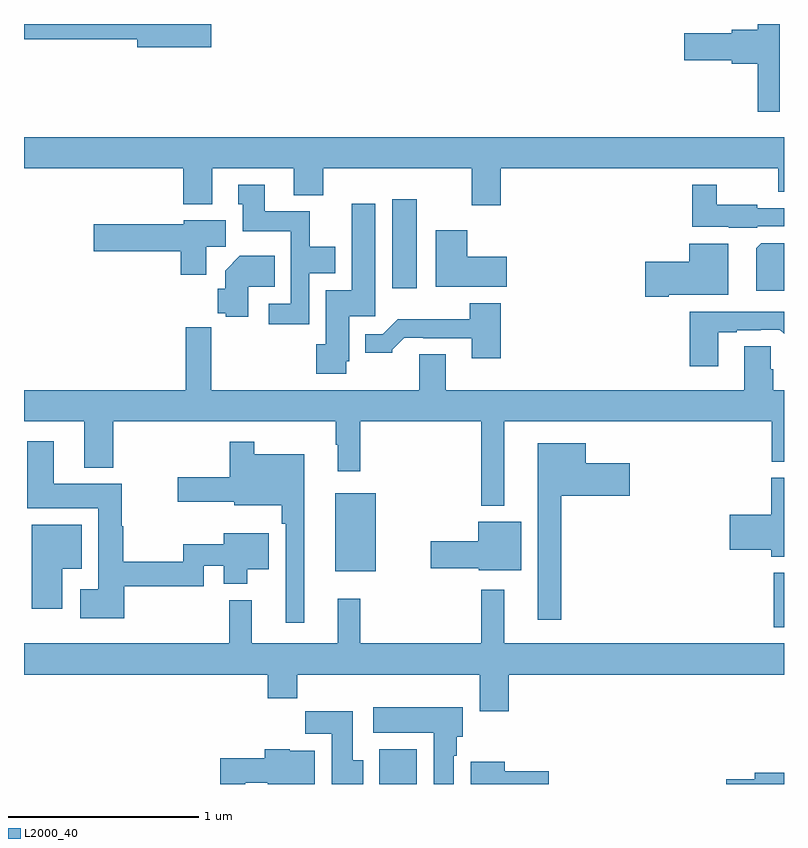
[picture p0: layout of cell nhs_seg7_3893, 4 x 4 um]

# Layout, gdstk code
import gdstk
lib = gdstk.Library(unit=1e-6, precision=1e-09)
def R(c, l, rs):  # rectangles x0, y0, x1, y1
    for r in rs: c.add(gdstk.rectangle(r[:2], r[2:], *l))
def P(c, l, *ps):  # polygons
    for p in ps: c.add(gdstk.Polygon(p, *l))
L2000_40 = (2000, 40)

nhs_seg7_3893 = lib.new_cell('nhs_seg7_3893')
R(nhs_seg7_3893, L2000_40, [(358.871,1040,359.068,1040.182), (360.947,1040.826,361,1041.111), (358.637,1041.119,358.852,1041.529), (358.937,1042.608,359.068,1043.077)])
P(nhs_seg7_3893, L2000_40, [(357.985,1044),(357,1044),(357,1043.92),(357.596,1043.92),(357.596,1043.878),(357.985,1043.878)],
  [(360.978,1044),(360.862,1044),(360.862,1043.969),(360.726,1043.969),(360.726,1043.951),(360.474,1043.951),(360.474,1043.809),(360.726,1043.809),(360.726,1043.791),(360.862,1043.791),(360.862,1043.538),(360.978,1043.538)],
  [(359.51,1043.24),(360.97,1043.24),(360.97,1043.116),(361,1043.116),(361,1043.404),(357,1043.404),(357,1043.24),(357.839,1043.24),(357.839,1043.051),(357.991,1043.051),(357.991,1043.24),(358.421,1043.24),(358.421,1043.099),(358.574,1043.099),(358.574,1043.24),(359.357,1043.24),(359.357,1043.046),(359.51,1043.046)],
  [(358.5,1042.688),(358.639,1042.688),(358.639,1042.828),(358.503,1042.828),(358.503,1043.014),(358.267,1043.014),(358.267,1043.155),(358.127,1043.155),(358.127,1043.052),(358.151,1043.052),(358.151,1042.91),(358.404,1042.91),(358.404,1042.527),(358.287,1042.527),(358.287,1042.419),(358.5,1042.419)],
  [(360.858,1042.935),(361,1042.935),(361,1043.031),(360.858,1043.031),(360.858,1043.05),(360.646,1043.05),(360.646,1043.155),(360.517,1043.155),(360.517,1042.934),(360.708,1042.934),(360.708,1042.928),(360.858,1042.928)],
  [(358.695,1042.224),(358.711,1042.224),(358.711,1042.461),(358.849,1042.461),(358.849,1043.053),(358.724,1043.053),(358.724,1042.6),(358.589,1042.6),(358.589,1042.314),(358.538,1042.314),(358.538,1042.158),(358.695,1042.158)],
  [(357.958,1042.828),(358.063,1042.828),(358.063,1042.966),(357.84,1042.966),(357.84,1042.947),(357.366,1042.947),(357.366,1042.805),(357.824,1042.805),(357.824,1042.68),(357.958,1042.68)],
  [(359.542,1042.774),(359.332,1042.774),(359.332,1042.915),(359.168,1042.915),(359.168,1042.616),(359.542,1042.616)],
  [(361,1042.846),(360.88,1042.846),(360.854,1042.82),(360.854,1042.595),(361,1042.595)],
  [(360.393,1042.574),(360.706,1042.574),(360.706,1042.844),(360.5,1042.844),(360.5,1042.748),(360.27,1042.748),(360.27,1042.565),(360.393,1042.565)],
  [(358.18,1042.616),(358.319,1042.616),(358.319,1042.78),(358.136,1042.78),(358.058,1042.702),(358.058,1042.606),(358.02,1042.606),(358.02,1042.478),(358.062,1042.478),(358.062,1042.459),(358.18,1042.459)],
  [(359.51,1042.531),(359.345,1042.531),(359.345,1042.447),(358.966,1042.447),(358.887,1042.368),(358.796,1042.368),(358.796,1042.271),(358.938,1042.271),(358.938,1042.286),(359.002,1042.35),(359.101,1042.35),(359.101,1042.347),(359.357,1042.347),(359.357,1042.242),(359.51,1042.242)],
  [(360.655,1042.377),(360.751,1042.377),(360.751,1042.389),(360.878,1042.389),(360.878,1042.392),(360.978,1042.392),(361,1042.37),(361,1042.486),(360.503,1042.486),(360.503,1042.2),(360.655,1042.2)],
  [(359.527,1041.908),(360.935,1041.908),(360.935,1041.697),(361,1041.697),(361,1042.072),(360.944,1042.072),(360.944,1042.182),(360.93,1042.182),(360.93,1042.304),(360.791,1042.304),(360.791,1042.072),(359.221,1042.072),(359.221,1042.262),(359.081,1042.262),(359.081,1042.072),(357.986,1042.072),(357.986,1042.292),(357.985,1042.292),(357.985,1042.405),(357.85,1042.405),(357.85,1042.072),(357,1042.072),(357,1041.908),(357.317,1041.908),(357.317,1041.665),(357.47,1041.665),(357.47,1041.908),(358.641,1041.908),(358.641,1041.785),(358.652,1041.785),(358.652,1041.645),(358.769,1041.645),(358.769,1041.908),(359.406,1041.908),(359.406,1041.464),(359.527,1041.464)],
  [(357.527,1041.042),(357.945,1041.042),(357.945,1041.15),(358.052,1041.15),(358.052,1041.053),(358.174,1041.053),(358.174,1041.131),(358.288,1041.131),(358.288,1041.319),(358.052,1041.319),(358.052,1041.261),(357.837,1041.261),(357.837,1041.17),(357.522,1041.17),(357.522,1041.356),(357.514,1041.356),(357.514,1041.58),(357.157,1041.58),(357.157,1041.805),(357.017,1041.805),(357.017,1041.452),(357.392,1041.452),(357.392,1041.025),(357.297,1041.025),(357.297,1040.873),(357.527,1040.873)],
  [(358.474,1041.736),(358.213,1041.736),(358.213,1041.802),(358.084,1041.802),(358.084,1041.615),(357.81,1041.615),(357.81,1041.485),(358.107,1041.485),(358.107,1041.467),(358.357,1041.467),(358.357,1041.371),(358.377,1041.371),(358.377,1040.85),(358.474,1040.85)],
  [(359.827,1041.518),(360.187,1041.518),(360.187,1041.688),(359.956,1041.688),(359.956,1041.793),(359.705,1041.793),(359.705,1040.865),(359.827,1040.865)],
  [(361,1041.612),(360.932,1041.612),(360.932,1041.416),(360.714,1041.416),(360.714,1041.233),(360.932,1041.233),(360.932,1041.196),(361,1041.196)],
  [(359.617,1041.379),(359.39,1041.379),(359.39,1041.278),(359.142,1041.278),(359.142,1041.136),(359.394,1041.136),(359.394,1041.125),(359.617,1041.125)],
  [(357.202,1041.134),(357.304,1041.134),(357.304,1041.364),(357.041,1041.364),(357.041,1040.922),(357.202,1040.922)],
  [(359.552,1040.576),(361,1040.576),(361,1040.74),(359.527,1040.74),(359.527,1041.022),(359.406,1041.022),(359.406,1040.74),(358.769,1040.74),(358.769,1040.974),(358.652,1040.974),(358.652,1040.74),(358.199,1040.74),(358.199,1040.968),(358.081,1040.968),(358.081,1040.74),(357,1040.74),(357,1040.576),(358.283,1040.576),(358.283,1040.452),(358.439,1040.452),(358.439,1040.576),(359.399,1040.576),(359.399,1040.382),(359.552,1040.382)],
  [(359.263,1040.15),(359.278,1040.15),(359.278,1040.25),(359.308,1040.25),(359.308,1040.404),(358.839,1040.404),(358.839,1040.27),(359.156,1040.27),(359.156,1040),(359.263,1040)],
  [(358.786,1040.124),(358.729,1040.124),(358.729,1040.382),(358.48,1040.382),(358.48,1040.264),(358.619,1040.264),(358.619,1040),(358.786,1040)],
  [(358.164,1040.006),(358.284,1040.006),(358.284,1040),(358.531,1040),(358.531,1040.176),(358.398,1040.176),(358.398,1040.182),(358.268,1040.182),(358.268,1040.136),(358.032,1040.136),(358.032,1040),(358.164,1040)],
  [(359.761,1040.066),(359.53,1040.066),(359.53,1040.116),(359.351,1040.116),(359.351,1040),(359.761,1040)],
  [(361,1040.06),(360.845,1040.06),(360.845,1040.024),(360.696,1040.024),(360.696,1040),(361,1040)])

lib.write_gds('nhs_seg7_3893.gds')
